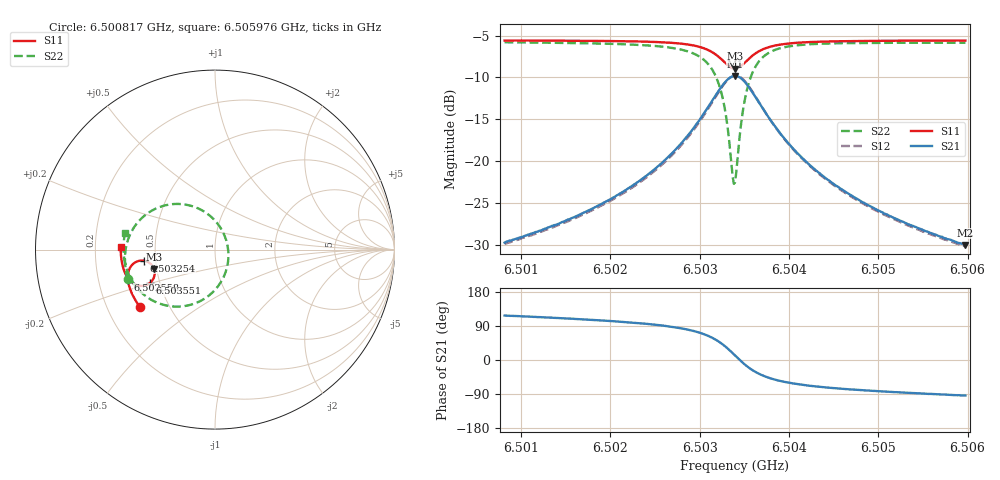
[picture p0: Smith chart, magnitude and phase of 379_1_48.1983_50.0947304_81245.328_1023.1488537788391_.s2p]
#  HZ  S  RI  R  50.00
! Rohde & Schwarz Vector Network Analyzer
! Rohde-Schwarz,ZNB20-2Port,1311601062101988,3.16
! Created: UTC 3/20/2024, 11:53:01 AM
! freq[Hz]  re:S11  im:S11  re:S21  im:S21  re:S12  im:S12  re:S22  im:S22
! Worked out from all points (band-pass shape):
!   401 points, 6.500817 GHz to 6.505976 GHz, reference 50 ohm
!   highest |S21| = -9.82 dB at 6.503396 GHz (marker M1); lowest = -30.0 dB at 6.505976 GHz (marker M2)
!   |S21| within 3 dB of the highest: 6.503138 GHz to 6.503654 GHz (515.9 kHz wide, 0.00793 % of centre)
!   lowest |S11| = -9.0 dB at 6.503396 GHz (marker M3), VSWR 2.11, Z = 24.2 - j6.09 ohm
!   |S11| at or under -10 dB: nowhere
!   |S22| runs from -22.7 to -5.8 dB; largest |S21 - S12| = 0.011
!   S11 on the Smith chart (normalised r, x): 6.500817 GHz: 0.34, -0.30; 6.502558 GHz: 0.33, -0.15; 6.503254 GHz: 0.43, -0.06; 6.503551 GHz: 0.44, -0.20; 6.505976 GHz: 0.31, +0.01
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6.5008167e9  -0.42 -0.3173  -0.015 0.0289  -0.0133 0.0291  -0.4857 -0.1664
6.5016809e9  -0.4581 -0.2546  -0.0145 0.0463  -0.0122 0.046  -0.5012 -0.0766
6.502171e9  -0.4757 -0.2118  -0.0116 0.0661  -0.00868 0.0649  -0.4991 -0.00842
6.502545e9  -0.4852 -0.1713  -0.00324 0.094  0.000402 0.092  -0.4813 0.0644
6.5025579e9  -0.4854 -0.1697  -0.00281 0.0956  0.000877 0.0932  -0.4802 0.0675
6.502803e9  -0.4848 -0.1345  0.0153 0.1283  0.0191 0.1246  -0.4424 0.1367
6.5029836e9  -0.4735 -0.1013  0.0494 0.1643  0.0527 0.1589  -0.375 0.2026
6.5031512e9  -0.4394 -0.0682  0.1262 0.1974  0.1274 0.191  -0.2344 0.2535
6.5032544e9  -0.3972 -0.0613  0.2105 0.189  0.2107 0.1837  -0.0877 0.2266
6.503306e9  -0.372 -0.0696  0.2584 0.1617  0.2591 0.1569  -0.00814 0.1703
6.5033705e9  -0.3455 -0.0955  0.3057 0.0991  0.308 0.0941  0.0632 0.0501
6.5033963e9  -0.3392 -0.1099  0.3158 0.0674  0.3188 0.0616  0.0741 -0.00869
6.5034092e9  -0.3373 -0.1174  0.3186 0.051  0.3217 0.0448  0.0748 -0.0389
6.5034866e9  -0.3432 -0.1617  0.3021 -0.0422  0.3041 -0.052  0.0188 -0.2018
6.5035511e9  -0.3638 -0.187  0.2603 -0.0956  0.2591 -0.1067  -0.0757 -0.2836
6.5036543e9  -0.4028 -0.202  0.187 -0.1316  0.1819 -0.1407  -0.2228 -0.3174
6.5038219e9  -0.4483 -0.1923  0.1069 -0.129  0.1 -0.1339  -0.3675 -0.272
6.5040025e9  -0.4754 -0.1709  0.0631 -0.1094  0.0569 -0.1117  -0.4385 -0.2082
6.5042605e9  -0.496 -0.1409  0.0336 -0.0859  0.029 -0.0863  -0.4814 -0.1372
6.5046474e9  -0.5115 -0.1011  0.0148 -0.0631  0.0115 -0.0627  -0.5036 -0.0628
6.5051246e9  -0.521 -0.0575  0.00493 -0.0469  0.00285 -0.0463  -0.5097 0.00286
6.5059759e9  -0.5258 0.0142  -0.00205 -0.0315  -0.00344 -0.0309  -0.5016 0.0914
